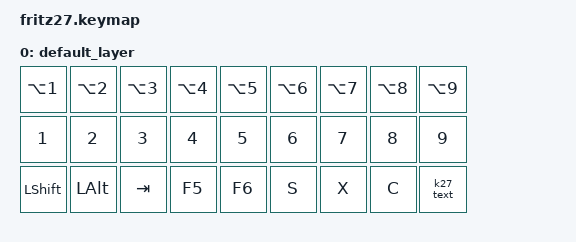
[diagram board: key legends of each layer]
#include <behaviors.dtsi>
#include <dt-bindings/zmk/keys.h>

/ {
    macros {
        k27_text: k27_text {
            compatible = "zmk,behavior-macro";
            #binding-cells = <0>;
            bindings
                = <&kp ENTER>
                , <&kp D>
                , <&kp U>
                , <&kp SPACE>
                , <&kp M>
                , <&kp A>
                , <&kp C>
                , <&kp H>
                , <&kp S>
                , <&kp T>
                , <&kp SPACE>
                , <&kp D>
                , <&kp A>
                , <&kp S>
                , <&kp SPACE>
                , <&kp S>
                , <&kp U>
                , <&kp P>
                , <&kp E>
                , <&kp R>
                , <&kp SPACE>
                , <&kp W>
                , <&kp E>
                , <&kp I>
                , <&kp T>
                , <&kp E>
                , <&kp R>
                , <&kp SPACE>
                , <&kp S>
                , <&kp O>
                , <&kp ENTER>;
        };
    };

    keymap {
        compatible = "zmk,keymap";

        default_layer {
            bindings = <
                &kp LA(N1)   &kp LA(N2)   &kp LA(N3)   &kp LA(N4)   &kp LA(N5)   &kp LA(N6)   &kp LA(N7)   &kp LA(N8)   &kp LA(N9)
                &kp N1       &kp N2       &kp N3       &kp N4       &kp N5       &kp N6       &kp N7       &kp N8       &kp N9
                &kp LSHFT    &kp LALT     &kp TAB      &kp F5       &kp F6       &kp S        &kp X        &kp C        &k27_text
            >;
        };
    };
};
